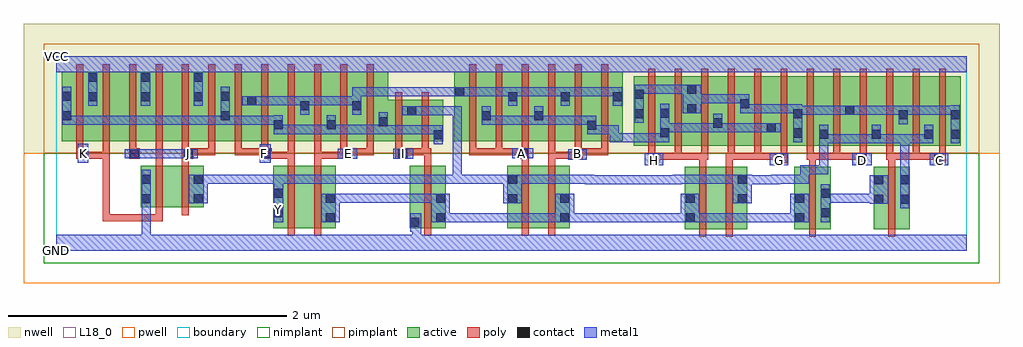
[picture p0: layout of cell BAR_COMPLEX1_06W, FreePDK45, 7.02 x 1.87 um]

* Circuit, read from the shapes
.subckt BAR_COMPLEX1_06W A B C D E F G GND H I J K VCC Y
M1 n1 K GND VSUBS nfet w=0.3u l=0.05u
M2 Y J n1 VSUBS nfet w=0.3u l=0.05u
M3 n2 F Y VSUBS nfet w=0.45u l=0.05u
M4 n3 E n2 VSUBS nfet w=0.45u l=0.05u
M5 n3 I GND VSUBS nfet w=0.45u l=0.05u
M6 n4 A Y VSUBS nfet w=0.45u l=0.05u
M7 n3 B n4 VSUBS nfet w=0.45u l=0.05u
M8 n5 H n3 VSUBS nfet w=0.45u l=0.05u
M9 Y G n5 VSUBS nfet w=0.45u l=0.05u
M10 n6 D n3 VSUBS nfet w=0.45u l=0.05u
M11 Y C n6 VSUBS nfet w=0.45u l=0.05u
M12 VCC K n7 n8 pfet w=0.5u l=0.05u
M13 n9 K VCC n8 pfet w=0.5u l=0.05u
M14 VCC J n9 n8 pfet w=0.5u l=0.05u
M15 n10 K VCC n8 pfet w=0.5u l=0.05u
M16 VCC J n10 n8 pfet w=0.5u l=0.05u
M17 n7 J VCC n8 pfet w=0.5u l=0.05u
M18 n11 F n7 n8 pfet w=0.5u l=0.05u m=3
M19 n7 E n11 n8 pfet w=0.5u l=0.05u m=3
M20 Y I n7 n8 pfet w=0.3u l=0.05u m=2
M21 n12 A n11 n8 pfet w=0.5u l=0.05u m=3
M22 n11 B n12 n8 pfet w=0.5u l=0.05u m=3
M23 n12 H n13 n8 pfet w=0.5u l=0.05u m=3
M24 n13 G n12 n8 pfet w=0.5u l=0.05u m=3
M25 Y D n13 n8 pfet w=0.5u l=0.05u m=3
M26 n13 C Y n8 pfet w=0.5u l=0.05u m=3
.ends

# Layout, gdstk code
import gdstk
lib = gdstk.Library(unit=1e-6, precision=1e-09)
def R(c, l, rs):  # rectangles x0, y0, x1, y1
    for r in rs: c.add(gdstk.rectangle(r[:2], r[2:], *l))
def A(c, l, x, y, w, h, nx, ny, dx, dy):  # array of equal rectangles
    R(c, l, [(x+i*dx, y+j*dy, x+i*dx+w, y+j*dy+h) for i in range(nx) for j in range(ny)])
active = (1, 0)
pwell = (2, 0)
nwell = (3, 0)
nimplant = (4, 0)
pimplant = (5, 0)
poly = (9, 0)
contact = (10, 0)
metal1 = (11, 0)
L18_0 = (18, 0)
boundary = (235, 0)

bar_complex1_06w = lib.new_cell('BAR_COMPLEX1_06W')
A(bar_complex1_06w, active, 4.155, 0.755, 0.075, 0.445, 4, 1, 0.38, 0)
A(bar_complex1_06w, active, 4.915, 0.755, 0.265, 0.5, 3, 1, 0.19, 0)
A(bar_complex1_06w, active, 0.225, 0.787, 0.075, 0.5, 3, 1, 0.38, 0)
A(bar_complex1_06w, active, 1.18, 0.787, 0.265, 0.5, 4, 1, 0.19, 0)
A(bar_complex1_06w, active, 2.865, 0.787, 0.265, 0.5, 5, 1, 0.19, 0)
A(bar_complex1_06w, active, 3.055, 0.787, 0.075, 0.283, 3, 1, 0.38, 0)
R(bar_complex1_06w, active, [(4.522,0.155,4.747,0.605), (4.747,0.155,4.972,0.605), (5.31,0.155,5.57,0.605), (5.88,0.155,6.14,0.605), (1.56,0.162,1.785,0.612), (1.785,0.162,2.01,0.612), (2.542,0.162,2.802,0.612), (3.245,0.162,3.47,0.612), (3.47,0.162,3.695,0.612), (2.542,0.167,2.617,0.397), (1.56,0.195,1.665,0.612), (1.935,0.195,2.01,0.612), (2.727,0.195,2.802,0.612), (3.245,0.195,3.35,0.612), (3.62,0.195,3.695,0.612), (4.522,0.195,4.627,0.605), (4.897,0.195,4.972,0.605), (5.31,0.195,5.385,0.605), (5.495,0.195,5.57,0.605), (5.88,0.195,5.955,0.605), (6.065,0.195,6.14,0.605), (0.61,0.312,0.685,0.612), (0.61,0.312,0.835,0.612), (0.835,0.312,1.06,0.612), (0.985,0.312,1.06,0.612), (4.155,0.755,4.415,1.255), (4.34,0.755,4.415,1.07), (4.34,0.755,4.61,1.255), (4.535,0.755,4.795,1.255), (4.72,0.755,4.795,1.07), (4.72,0.755,4.99,1.255), (5.105,0.755,5.18,1.07), (5.485,0.755,5.56,1.07), (5.485,0.755,5.747,1.255), (5.672,0.755,5.747,1.2), (5.672,0.755,5.935,1.255), (5.86,0.755,5.935,1.07), (5.86,0.755,6.13,1.255), (6.055,0.755,6.13,1.2), (6.055,0.755,6.315,1.255), (6.24,0.755,6.505,1.255), (6.24,0.755,6.315,1.07), (6.43,0.755,6.505,1.2), (0.04,0.787,0.3,1.287), (0.04,0.787,0.115,1.2), (0.225,0.787,0.455,1.287), (0.455,0.787,0.68,1.287), (0.605,0.787,0.835,1.287), (0.835,0.787,1.06,1.287), (0.985,0.787,1.255,1.287), (1.18,0.787,1.255,1.2), (1.37,0.787,1.445,1.2), (1.56,0.787,1.635,1.07), (1.75,0.787,1.825,1.2), (1.94,0.787,2.2,1.287), (1.94,0.787,2.015,1.07), (2.125,0.787,2.39,1.287), (2.125,0.787,2.2,1.2), (2.315,0.787,2.595,1.087), (2.52,0.787,2.785,1.087), (3.625,0.787,3.7,1.2), (3.815,0.787,4.075,1.287), (4,0.787,4.075,1.2), (2.71,0.797,2.785,0.94), (2.865,0.807,2.94,1.2), (3.245,0.807,3.32,1.2), (2.315,0.89,2.39,1.07), (2.52,0.97,2.595,1.055)])
R(bar_complex1_06w, pwell, [(-0.235,-0.235,6.785,0.7)])
R(bar_complex1_06w, nwell, [(-0.235,0.7,6.785,1.635)])
R(bar_complex1_06w, nimplant, [(-0.09,-0.09,6.64,0.7)])
R(bar_complex1_06w, pimplant, [(-0.09,0.7,6.64,1.49)])
A(bar_complex1_06w, poly, 4.26, 0.655, 0.05, 0.095, 12, 1, 0.19, 0)
A(bar_complex1_06w, poly, 1.665, 0.662, 0.05, 0.05, 3, 1, 0.19, 0)
A(bar_complex1_06w, poly, 0.145, 0.687, 0.05, 0.095, 3, 1, 0.38, 0)
A(bar_complex1_06w, poly, 1.095, 0.687, 0.05, 0.095, 3, 1, 0.19, 0)
A(bar_complex1_06w, poly, 2.97, 0.687, 0.05, 0.095, 3, 1, 0.19, 0)
A(bar_complex1_06w, poly, 4.26, 0.7, 0.05, 0.61, 12, 1, 0.19, 0)
A(bar_complex1_06w, poly, 0.145, 0.732, 0.05, 0.61, 12, 1, 0.19, 0)
A(bar_complex1_06w, poly, 2.97, 0.732, 0.05, 0.61, 6, 1, 0.19, 0)
R(bar_complex1_06w, poly, [(4.627,0.1,4.677,0.66), (4.817,0.1,4.867,0.66), (5.415,0.1,5.465,0.66), (5.985,0.1,6.035,0.66), (1.665,0.107,1.715,0.667), (1.855,0.107,1.905,0.667), (2.647,0.107,2.697,0.667), (3.35,0.107,3.4,0.667), (3.54,0.107,3.59,0.667), (0.335,0.212,0.385,0.262), (0.335,0.212,0.517,0.262), (0.335,0.212,0.385,0.7), (0.467,0.212,0.517,0.262), (0.467,0.212,0.517,0.262), (0.467,0.212,0.517,0.262), (0.467,0.212,0.517,0.262), (0.467,0.212,0.517,0.262), (0.467,0.212,0.517,0.262), (0.467,0.212,0.517,0.262), (0.467,0.212,0.765,0.262), (0.715,0.212,0.765,0.307), (0.715,0.212,0.765,0.262), (0.715,0.212,0.765,0.262), (0.715,0.212,0.765,0.262), (0.715,0.257,0.765,0.667), (0.905,0.257,0.955,0.667), (4.627,0.61,4.677,0.705), (4.817,0.61,4.867,0.705), (5.415,0.61,5.465,0.705), (5.985,0.61,6.035,0.705), (0.715,0.617,0.765,0.722), (0.905,0.617,0.955,0.712), (1.665,0.617,1.715,0.712), (1.855,0.617,1.905,0.712), (2.647,0.617,2.697,0.737), (3.35,0.617,3.4,0.712), (3.54,0.617,3.59,0.712), (4.26,0.63,4.337,0.705), (5.162,0.63,5.26,0.705), (5.755,0.63,5.83,0.705), (6.312,0.63,6.4,0.705), (0.335,0.65,0.385,0.7), (0.335,0.65,0.385,0.7), (0.335,0.65,0.385,0.712), (4.287,0.655,4.5,0.705), (4.45,0.655,4.5,0.705), (4.45,0.655,4.5,0.705), (4.45,0.655,4.5,0.705), (4.45,0.655,4.677,0.705), (4.627,0.655,4.677,0.705), (4.627,0.655,4.677,0.705), (4.627,0.655,4.69,0.705), (4.817,0.655,4.88,0.705), (4.83,0.655,5.07,0.705), (5.02,0.655,5.07,0.705), (5.02,0.655,5.07,0.705), (5.02,0.655,5.07,0.705), (5.02,0.655,5.212,0.705), (5.162,0.655,5.212,0.705), (5.162,0.655,5.212,0.705), (5.4,0.655,5.465,0.705), (5.415,0.655,5.64,0.705), (5.59,0.655,5.64,0.705), (5.59,0.655,5.64,0.705), (5.59,0.655,5.64,0.705), (5.59,0.655,5.805,0.705), (5.755,0.655,5.805,0.705), (5.755,0.655,5.805,0.705), (5.97,0.655,6.035,0.705), (5.985,0.655,6.035,0.705), (5.985,0.655,6.035,0.705), (5.985,0.655,6.21,0.705), (6.16,0.655,6.21,0.705), (6.16,0.655,6.362,0.705), (6.312,0.655,6.362,0.705), (6.312,0.655,6.362,0.705), (0.145,0.662,0.225,0.737), (0.175,0.662,0.225,0.712), (0.175,0.662,0.225,0.712), (0.175,0.662,0.385,0.712), (0.335,0.662,0.385,0.782), (0.525,0.662,0.6,0.737), (0.905,0.662,0.987,0.737), (1.475,0.662,1.55,0.737), (1.5,0.662,1.715,0.712), (1.665,0.662,1.715,0.712), (1.665,0.662,1.715,0.712), (1.665,0.662,1.715,0.782), (1.855,0.662,2.095,0.712), (1.855,0.662,1.905,0.782), (2.045,0.662,2.095,0.712), (2.045,0.662,2.13,0.737), (2.44,0.662,2.53,0.737), (3.325,0.662,3.4,0.737), (3.54,0.662,3.59,0.712), (3.54,0.662,3.59,0.712), (3.54,0.662,3.59,0.712), (3.54,0.662,3.762,0.712), (3.54,0.662,3.59,0.782), (3.712,0.662,3.787,0.737), (0.715,0.672,0.765,0.722), (0.715,0.672,0.765,0.782), (0.937,0.687,0.987,0.737), (0.937,0.687,0.987,0.737), (0.937,0.687,1.145,0.737), (1.095,0.687,1.145,0.737), (1.285,0.687,1.335,0.737), (1.285,0.687,1.335,0.737), (1.285,0.687,1.335,0.737), (1.285,0.687,1.525,0.737), (2.045,0.687,2.095,0.782), (2.08,0.687,2.285,0.737), (2.235,0.687,2.285,0.782), (2.235,0.687,2.285,0.737), (2.235,0.687,2.285,0.737), (2.235,0.687,2.285,0.737), (2.44,0.687,2.49,0.782), (2.48,0.687,2.68,0.737), (2.63,0.687,2.68,0.782), (2.63,0.687,2.68,0.737), (2.63,0.687,2.68,0.737), (2.63,0.687,2.697,0.737), (2.97,0.687,3.025,0.737), (2.975,0.687,3.025,0.737), (2.975,0.687,3.025,0.737), (2.975,0.687,3.21,0.737), (3.16,0.687,3.21,0.737), (3.16,0.687,3.21,0.737), (3.16,0.687,3.21,0.737), (3.16,0.687,3.375,0.737), (3.73,0.687,3.78,0.782), (3.737,0.687,3.97,0.737), (3.92,0.687,3.97,0.782), (3.92,0.687,3.97,0.737), (3.92,0.687,3.97,0.737), (3.92,0.687,3.97,0.737), (2.44,0.732,2.49,1.142), (2.63,0.732,2.68,1.142)])
A(bar_complex1_06w, contact, 0.23, 1.077, 0.065, 0.065, 3, 2, 0.38, 0.14)
R(bar_complex1_06w, contact, [(2.547,0.172,2.612,0.237), (1.94,0.205,2.005,0.27), (2.732,0.205,2.797,0.27), (3.625,0.205,3.69,0.27), (4.527,0.205,4.592,0.27), (5.315,0.205,5.38,0.27), (1.565,0.24,1.63,0.305), (5.5,0.24,5.565,0.305), (5.885,0.34,5.95,0.405), (6.07,0.34,6.135,0.405), (0.615,0.342,0.68,0.407), (0.99,0.342,1.055,0.407), (3.25,0.342,3.315,0.407), (4.902,0.342,4.967,0.407), (1.94,0.345,2.005,0.41), (2.732,0.345,2.797,0.41), (3.625,0.345,3.69,0.41), (4.527,0.345,4.592,0.41), (5.315,0.345,5.38,0.41), (1.565,0.38,1.63,0.445), (5.5,0.38,5.565,0.445), (5.885,0.48,5.95,0.545), (6.07,0.48,6.135,0.545), (0.615,0.482,0.68,0.547), (0.99,0.482,1.055,0.547), (3.25,0.482,3.315,0.547), (4.902,0.482,4.967,0.547), (4.267,0.635,4.332,0.7), (5.167,0.635,5.232,0.7), (5.76,0.635,5.825,0.7), (6.317,0.635,6.382,0.7), (0.155,0.667,0.22,0.732), (0.53,0.667,0.595,0.732), (0.917,0.667,0.982,0.732), (1.48,0.667,1.545,0.732), (2.06,0.667,2.125,0.732), (2.46,0.667,2.525,0.732), (3.33,0.667,3.395,0.732), (3.717,0.667,3.782,0.732), (2.715,0.802,2.78,0.867), (5.49,0.807,5.555,0.872), (5.865,0.807,5.93,0.872), (6.245,0.807,6.31,0.872), (6.435,0.807,6.5,0.872), (5.3,0.815,5.365,0.88), (4.345,0.817,4.41,0.882), (5.11,0.852,5.175,0.917), (3.82,0.872,3.885,0.937), (1.565,0.875,1.63,0.94), (1.945,0.875,2.01,0.94), (4.725,0.887,4.79,0.952), (2.32,0.895,2.385,0.96), (0.045,0.94,0.11,1.005), (1.185,0.94,1.25,1.005), (3.06,0.94,3.125,1.005), (3.44,0.94,3.505,1.005), (6.06,0.945,6.125,1.01), (6.435,0.947,6.5,1.012), (4.16,0.955,4.225,1.02), (5.3,0.955,5.365,1.02), (4.345,0.957,4.41,1.022), (2.525,0.975,2.59,1.04), (5.677,0.977,5.742,1.042), (4.54,0.99,4.605,1.055), (1.755,1.012,1.82,1.077), (2.13,1.012,2.195,1.077), (4.92,1.025,4.985,1.09), (1.375,1.047,1.44,1.112), (3.25,1.077,3.315,1.142), (3.63,1.077,3.695,1.142), (4.005,1.077,4.07,1.142), (0.045,1.08,0.11,1.145), (1.185,1.08,1.25,1.145), (4.16,1.095,4.225,1.16), (2.87,1.112,2.935,1.177), (4.54,1.13,4.605,1.195)])
A(bar_complex1_06w, metal1, 1.767, 0.482, 0.203, 0.065, 3, 1, 0.655, 0)
A(bar_complex1_06w, metal1, 0.23, 1.042, 0.065, 0.275, 3, 1, 0.38, 0)
A(bar_complex1_06w, metal1, 0.23, 1.252, 0.065, 0.098, 3, 1, 0.38, 0)
R(bar_complex1_06w, metal1, [(0,0,6.55,0.115), (0.615,0.05,0.68,0.115), (0.615,0.05,0.68,0.115), (0.615,0.05,0.68,0.115), (0.615,0.05,0.68,0.115), (0.615,0.05,0.68,0.372), (2.56,0.05,2.625,0.115), (2.56,0.05,2.625,0.115), (2.56,0.05,2.625,0.202), (2.547,0.137,2.625,0.272), (1.565,0.205,1.632,0.48), (1.905,0.205,2.04,0.41), (2.697,0.205,2.832,0.41), (2.767,0.205,2.97,0.27), (2.905,0.205,2.97,0.27), (2.905,0.205,2.97,0.27), (2.905,0.205,2.97,0.27), (2.905,0.205,3.142,0.27), (3.077,0.205,3.142,0.27), (3.077,0.205,3.142,0.27), (3.077,0.205,3.142,0.27), (3.077,0.205,3.28,0.27), (3.215,0.205,3.28,0.27), (3.215,0.205,3.28,0.27), (3.215,0.205,3.28,0.27), (3.215,0.205,3.517,0.27), (3.452,0.205,3.517,0.27), (3.452,0.205,3.517,0.27), (3.452,0.205,3.517,0.27), (3.452,0.205,3.655,0.27), (3.59,0.205,3.725,0.41), (3.66,0.205,3.725,0.27), (3.66,0.205,3.725,0.27), (3.66,0.205,3.87,0.27), (3.805,0.205,3.87,0.27), (3.805,0.205,3.87,0.27), (3.805,0.205,3.87,0.27), (3.805,0.205,4.045,0.27), (3.98,0.205,4.045,0.27), (3.98,0.205,4.045,0.27), (3.98,0.205,4.045,0.27), (3.98,0.205,4.362,0.27), (4.297,0.205,4.362,0.27), (4.297,0.205,4.42,0.27), (4.355,0.205,4.42,0.27), (4.355,0.205,4.502,0.27), (4.437,0.205,4.502,0.27), (4.437,0.205,4.557,0.27), (4.492,0.205,4.627,0.41), (4.562,0.205,4.64,0.27), (4.575,0.205,4.64,0.27), (4.575,0.205,4.795,0.27), (4.73,0.205,4.795,0.27), (4.73,0.205,4.795,0.27), (4.73,0.205,4.795,0.27), (4.73,0.205,4.932,0.27), (4.867,0.205,4.932,0.27), (4.867,0.205,4.932,0.27), (4.867,0.205,4.932,0.27), (4.867,0.205,5.207,0.27), (5.142,0.205,5.207,0.27), (5.142,0.205,5.207,0.27), (5.142,0.205,5.207,0.27), (5.142,0.205,5.345,0.27), (5.28,0.205,5.415,0.41), (5.5,0.205,5.565,0.48), (6.07,0.305,6.135,0.58), (0.615,0.307,0.68,0.582), (5.85,0.34,5.985,0.545), (0.955,0.342,1.09,0.547), (3.215,0.342,3.35,0.547), (4.867,0.342,5.002,0.547), (1.975,0.345,2.04,0.41), (1.975,0.345,2.04,0.41), (1.975,0.345,2.212,0.41), (2.147,0.345,2.212,0.41), (2.147,0.345,2.35,0.41), (2.285,0.345,2.35,0.41), (2.285,0.345,2.35,0.41), (2.285,0.345,2.35,0.41), (2.285,0.345,2.487,0.41), (2.422,0.345,2.487,0.41), (2.422,0.345,2.625,0.41), (2.56,0.345,2.625,0.41), (2.56,0.345,2.762,0.41), (2.697,0.345,2.762,0.41), (2.697,0.345,2.762,0.41), (5.5,0.345,5.565,0.41), (5.5,0.345,5.565,0.41), (5.5,0.345,5.702,0.41), (5.637,0.345,5.702,0.41), (5.637,0.345,5.702,0.41), (5.637,0.345,5.702,0.41), (5.637,0.345,5.915,0.41), (1.567,0.415,1.632,0.48), (1.567,0.415,1.632,0.48), (1.567,0.415,1.632,0.48), (1.567,0.415,1.632,0.48), (1.567,0.415,1.632,0.547), (3.805,0.48,3.87,0.547), (3.805,0.48,4.045,0.545), (3.98,0.48,4.045,0.545), (3.98,0.48,4.045,0.545), (3.98,0.48,4.045,0.545), (3.98,0.48,4.362,0.545), (4.297,0.48,4.362,0.545), (4.297,0.48,4.362,0.545), (4.297,0.48,4.362,0.545), (4.297,0.48,4.5,0.545), (4.435,0.48,4.5,0.547), (4.937,0.48,5.002,0.545), (4.937,0.48,5.002,0.545), (4.937,0.48,5.207,0.545), (5.142,0.48,5.207,0.545), (5.142,0.48,5.207,0.545), (5.142,0.48,5.207,0.547), (1.025,0.482,1.09,0.547), (1.025,0.482,1.09,0.547), (1.025,0.482,1.267,0.547), (1.202,0.482,1.267,0.547), (1.202,0.482,1.267,0.547), (1.202,0.482,1.267,0.547), (1.202,0.482,1.485,0.547), (1.42,0.482,1.485,0.547), (1.42,0.482,1.485,0.547), (1.42,0.482,1.485,0.547), (1.42,0.482,1.632,0.547), (1.567,0.482,1.632,0.547), (1.567,0.482,1.632,0.547), (1.567,0.482,1.632,0.547), (1.567,0.482,1.832,0.547), (1.767,0.482,1.832,0.547), (1.767,0.482,1.832,0.547), (1.767,0.482,1.832,0.547), (1.905,0.482,1.97,0.547), (1.905,0.482,2.195,0.547), (2.13,0.482,2.195,0.547), (2.13,0.482,2.195,0.547), (2.13,0.482,2.195,0.547), (2.13,0.482,2.35,0.547), (2.285,0.482,2.35,0.547), (2.285,0.482,2.35,0.547), (2.285,0.482,2.35,0.547), (2.285,0.482,2.487,0.547), (2.422,0.482,2.487,0.547), (2.56,0.482,2.625,0.547), (2.56,0.482,2.625,0.547), (2.56,0.482,2.625,0.547), (2.56,0.482,2.762,0.547), (2.697,0.482,2.762,0.547), (2.697,0.482,2.917,0.547), (2.852,0.482,2.917,0.547), (2.852,0.482,2.97,0.547), (2.852,0.482,2.917,1.04), (2.905,0.482,2.97,0.547), (2.905,0.482,3.142,0.547), (3.077,0.482,3.142,0.547), (3.077,0.482,3.142,0.547), (3.077,0.482,3.142,0.547), (3.285,0.482,3.35,0.547), (3.285,0.482,3.35,0.547), (3.285,0.482,3.517,0.547), (3.452,0.482,3.517,0.547), (3.452,0.482,3.517,0.547), (3.452,0.482,3.517,0.547), (3.452,0.482,3.732,0.547), (3.667,0.482,3.732,0.547), (3.667,0.482,3.732,0.547), (3.667,0.482,3.732,0.547), (3.667,0.482,3.87,0.547), (3.805,0.482,3.87,0.547), (3.805,0.482,3.87,0.547), (4.435,0.482,4.64,0.547), (4.575,0.482,4.64,0.547), (4.575,0.482,4.64,0.547), (4.575,0.482,4.64,0.547), (4.575,0.482,4.795,0.547), (4.73,0.482,4.795,0.547), (4.73,0.482,4.795,0.547), (4.73,0.482,4.795,0.547), (4.73,0.482,4.932,0.547), (5.142,0.482,5.417,0.547), (5.352,0.482,5.417,0.547), (5.352,0.482,5.417,0.617), (6.07,0.515,6.135,0.837), (5.352,0.552,5.417,0.617), (5.352,0.552,5.417,0.617), (5.352,0.552,5.417,0.617), (5.352,0.552,5.555,0.617), (5.49,0.552,5.555,0.617), (5.49,0.552,5.555,0.837), (4.232,0.617,4.367,0.7), (5.132,0.617,5.267,0.7), (5.725,0.617,5.867,0.7), (6.282,0.617,6.417,0.7), (0.155,0.632,0.232,0.77), (1.465,0.632,1.545,0.767), (3.682,0.655,3.817,0.732), (2.025,0.662,2.167,0.735), (2.425,0.662,2.567,0.735), (0.495,0.667,0.63,0.732), (0.565,0.667,0.63,0.732), (0.565,0.667,0.63,0.732), (0.565,0.667,0.767,0.732), (0.702,0.667,0.767,0.732), (0.702,0.667,0.767,0.732), (0.702,0.667,0.767,0.732), (0.702,0.667,0.947,0.732), (0.882,0.667,1.017,0.732), (3.282,0.667,3.43,0.737), (2.715,0.767,2.78,0.902), (5.49,0.772,5.555,0.837), (5.49,0.772,5.555,0.837), (5.49,0.772,5.555,0.907), (5.49,0.772,5.777,0.837), (5.712,0.772,5.777,0.837), (5.712,0.772,5.93,0.837), (5.865,0.772,5.93,0.837), (5.865,0.772,5.93,0.837), (5.865,0.772,5.93,0.907), (5.865,0.772,6.072,0.837), (6.007,0.772,6.072,0.837), (6.007,0.772,6.135,0.837), (6.07,0.772,6.135,0.837), (6.07,0.772,6.135,0.837), (6.07,0.772,6.135,0.837), (6.07,0.772,6.21,0.837), (6.145,0.772,6.21,0.837), (6.145,0.772,6.31,0.837), (6.245,0.772,6.31,0.907), (6.435,0.772,6.5,1.047), (5.3,0.78,5.365,1.055), (3.98,0.782,4.045,0.847), (3.98,0.782,4.045,0.847), (3.98,0.782,4.225,0.847), (3.98,0.782,4.045,0.902), (4.16,0.782,4.225,0.847), (4.16,0.782,4.41,0.847), (4.345,0.782,4.41,1.057), (2.32,0.837,2.487,0.902), (2.32,0.837,2.385,0.995), (2.422,0.837,2.487,0.902), (2.422,0.837,2.625,0.902), (2.56,0.837,2.625,0.902), (2.56,0.837,2.625,0.902), (2.56,0.837,2.625,0.902), (2.56,0.837,2.78,0.902), (3.82,0.837,3.885,0.902), (3.82,0.837,3.885,0.902), (3.82,0.837,3.885,0.972), (3.82,0.837,4.045,0.902), (1.565,0.84,1.63,0.975), (1.565,0.84,1.685,0.905), (1.62,0.84,1.685,0.905), (1.62,0.84,1.832,0.905), (1.767,0.84,1.832,0.905), (1.767,0.84,1.832,0.905), (1.767,0.84,1.832,0.905), (1.767,0.84,2.01,0.905), (1.945,0.84,2.01,0.975), (1.945,0.84,2.195,0.905), (2.13,0.84,2.195,0.905), (2.13,0.84,2.195,0.905), (2.13,0.84,2.195,0.905), (2.13,0.84,2.345,0.905), (2.28,0.84,2.345,0.905), (2.28,0.84,2.385,0.905), (4.345,0.852,4.5,0.917), (4.435,0.852,4.5,0.917), (4.435,0.852,4.652,0.917), (4.587,0.852,4.652,0.917), (4.587,0.852,4.652,0.917), (4.587,0.852,4.652,0.917), (4.587,0.852,4.79,0.917), (4.725,0.852,4.79,0.917), (4.725,0.852,4.79,0.917), (4.725,0.852,4.79,0.987), (4.725,0.852,4.932,0.917), (4.867,0.852,4.932,0.917), (4.867,0.852,4.932,0.917), (4.867,0.852,4.932,0.917), (4.867,0.852,5.14,0.917), (5.075,0.852,5.21,0.917), (0.045,0.905,0.11,0.97), (0.045,0.905,0.11,0.97), (0.045,0.905,0.11,1.18), (0.045,0.905,0.247,0.97), (0.182,0.905,0.247,0.97), (0.182,0.905,0.247,0.97), (0.182,0.905,0.247,0.97), (0.182,0.905,0.385,0.97), (0.32,0.905,0.385,0.97), (0.32,0.905,0.385,0.97), (0.32,0.905,0.385,0.97), (0.32,0.905,0.63,0.97), (0.565,0.905,0.63,0.97), (0.565,0.905,0.767,0.97), (0.702,0.905,0.767,0.97), (0.702,0.905,0.767,0.97), (0.702,0.905,0.767,0.97), (0.702,0.905,0.905,0.97), (0.84,0.905,0.905,0.97), (0.84,0.905,1.075,0.97), (1.01,0.905,1.075,0.97), (1.01,0.905,1.075,0.97), (1.01,0.905,1.075,0.97), (1.01,0.905,1.25,0.97), (1.185,0.905,1.25,0.97), (1.185,0.905,1.25,0.97), (1.185,0.905,1.25,1.18), (1.185,0.905,1.492,0.97), (1.427,0.905,1.492,0.97), (1.427,0.905,1.492,0.97), (1.427,0.905,1.492,0.97), (1.427,0.905,1.63,0.97), (3.06,0.905,3.125,0.97), (3.06,0.905,3.125,0.97), (3.06,0.905,3.125,1.04), (3.06,0.905,3.367,0.97), (3.302,0.905,3.367,0.97), (3.302,0.905,3.367,0.97), (3.302,0.905,3.367,0.97), (3.302,0.905,3.505,0.97), (3.44,0.905,3.505,0.97), (3.44,0.905,3.505,0.97), (3.44,0.905,3.505,1.04), (3.44,0.905,3.732,0.97), (3.667,0.905,3.732,0.97), (3.667,0.905,3.732,0.97), (3.667,0.905,3.732,0.97), (3.667,0.905,3.885,0.97), (6.06,0.91,6.125,1.045), (4.16,0.92,4.225,1.195), (2.49,0.975,2.625,1.04), (2.56,0.975,2.625,1.04), (2.56,0.975,2.625,1.04), (2.56,0.975,2.762,1.04), (2.697,0.975,2.762,1.04), (2.697,0.975,2.917,1.04), (2.852,0.975,2.917,1.04), (2.852,0.975,2.917,1.04), (2.852,0.975,2.917,1.04), (2.852,0.975,2.917,1.04), (2.852,0.975,2.917,1.04), (1.755,0.977,1.822,1.112), (2.13,0.977,2.195,1.112), (5.642,0.977,5.777,1.045), (5.3,0.98,5.405,1.045), (5.34,0.98,5.405,1.045), (5.34,0.98,5.565,1.045), (5.5,0.98,5.565,1.045), (5.5,0.98,5.565,1.045), (5.5,0.98,5.565,1.045), (5.5,0.98,5.707,1.045), (5.712,0.98,5.777,1.045), (5.712,0.98,5.777,1.045), (5.712,0.98,5.987,1.045), (5.922,0.98,5.987,1.045), (5.922,0.98,6.072,1.045), (6.007,0.98,6.072,1.045), (6.007,0.98,6.125,1.045), (6.06,0.98,6.21,1.045), (6.145,0.98,6.21,1.045), (6.145,0.98,6.362,1.045), (6.297,0.98,6.362,1.045), (6.297,0.98,6.5,1.045), (6.435,0.98,6.5,1.045), (6.435,0.98,6.5,1.045), (4.505,0.99,4.64,1.195), (4.92,0.99,4.985,1.055), (4.92,0.99,4.985,1.055), (4.92,0.99,4.985,1.125), (4.92,0.99,5.207,1.055), (5.142,0.99,5.207,1.055), (5.142,0.99,5.207,1.055), (5.142,0.99,5.207,1.055), (5.142,0.99,5.365,1.055), (3.25,1.042,3.315,1.177), (3.63,1.042,3.695,1.177), (4.005,1.042,4.07,1.177), (1.34,1.047,1.475,1.112), (1.41,1.047,1.475,1.112), (1.41,1.047,1.475,1.112), (1.41,1.047,1.655,1.112), (1.59,1.047,1.655,1.112), (1.59,1.047,1.655,1.112), (1.59,1.047,1.655,1.112), (1.59,1.047,1.82,1.112), (1.757,1.047,1.822,1.112), (1.757,1.047,1.822,1.112), (1.757,1.047,1.987,1.112), (1.922,1.047,1.987,1.112), (1.922,1.047,2.195,1.112), (2.13,1.047,2.195,1.112), (2.13,1.047,2.195,1.112), (2.13,1.047,2.195,1.177), (4.575,1.06,4.64,1.125), (4.575,1.06,4.64,1.125), (4.575,1.06,4.795,1.125), (4.73,1.06,4.795,1.125), (4.73,1.06,4.795,1.125), (4.73,1.06,4.795,1.125), (4.73,1.06,4.985,1.125), (2.13,1.112,2.195,1.177), (2.13,1.112,2.35,1.177), (2.285,1.112,2.35,1.177), (2.285,1.112,2.35,1.177), (2.285,1.112,2.35,1.177), (2.285,1.112,2.487,1.177), (2.422,1.112,2.487,1.177), (2.422,1.112,2.522,1.177), (2.457,1.112,2.522,1.177), (2.457,1.112,2.762,1.177), (2.697,1.112,2.762,1.177), (2.697,1.112,2.762,1.177), (2.697,1.112,2.762,1.177), (2.697,1.112,2.9,1.177), (2.835,1.112,2.97,1.177), (2.905,1.112,2.97,1.177), (2.905,1.112,2.97,1.177), (2.905,1.112,3.142,1.177), (3.077,1.112,3.142,1.177), (3.077,1.112,3.142,1.177), (3.077,1.112,3.142,1.177), (3.077,1.112,3.315,1.177), (3.25,1.112,3.315,1.177), (3.25,1.112,3.315,1.177), (3.25,1.112,3.517,1.177), (3.452,1.112,3.517,1.177), (3.452,1.112,3.517,1.177), (3.452,1.112,3.517,1.177), (3.452,1.112,3.695,1.177), (3.63,1.112,3.695,1.177), (3.63,1.112,3.695,1.177), (3.63,1.112,3.907,1.177), (3.842,1.112,3.907,1.177), (3.842,1.112,3.907,1.177), (3.842,1.112,3.907,1.177), (3.842,1.112,4.07,1.177), (4.16,1.13,4.225,1.195), (4.16,1.13,4.225,1.195), (4.16,1.13,4.362,1.195), (4.297,1.13,4.362,1.195), (4.297,1.13,4.5,1.195), (4.435,1.13,4.5,1.195), (4.435,1.13,4.57,1.195), (0,1.285,6.55,1.4)])
A(bar_complex1_06w, L18_0, 1.767, 0.482, 0.203, 0.065, 3, 1, 0.655, 0)
A(bar_complex1_06w, L18_0, 0.23, 1.042, 0.065, 0.275, 3, 1, 0.38, 0)
A(bar_complex1_06w, L18_0, 0.23, 1.252, 0.065, 0.098, 3, 1, 0.38, 0)
R(bar_complex1_06w, L18_0, [(0,0,6.55,0.115), (0.615,0.05,0.68,0.115), (0.615,0.05,0.68,0.115), (0.615,0.05,0.68,0.115), (0.615,0.05,0.68,0.115), (0.615,0.05,0.68,0.372), (2.56,0.05,2.625,0.115), (2.56,0.05,2.625,0.115), (2.56,0.05,2.625,0.202), (2.547,0.137,2.625,0.272), (1.565,0.205,1.632,0.48), (1.567,0.267,1.632,0.332), (6.07,0.305,6.135,0.58), (0.615,0.307,0.68,0.582), (0.955,0.342,1.09,0.547), (3.215,0.342,3.35,0.547), (4.867,0.342,5.002,0.547), (1.567,0.415,1.632,0.48), (1.567,0.415,1.632,0.48), (1.567,0.415,1.632,0.48), (1.567,0.415,1.632,0.48), (1.567,0.415,1.632,0.547), (3.805,0.48,3.87,0.547), (3.805,0.48,4.045,0.545), (3.98,0.48,4.045,0.545), (3.98,0.48,4.045,0.545), (3.98,0.48,4.045,0.545), (3.98,0.48,4.362,0.545), (4.297,0.48,4.362,0.545), (4.297,0.48,4.362,0.545), (4.297,0.48,4.362,0.545), (4.297,0.48,4.5,0.545), (4.435,0.48,4.5,0.547), (4.937,0.48,5.002,0.545), (4.937,0.48,5.002,0.545), (4.937,0.48,5.207,0.545), (5.142,0.48,5.207,0.545), (5.142,0.48,5.207,0.545), (5.142,0.48,5.207,0.547), (1.025,0.482,1.09,0.547), (1.025,0.482,1.09,0.547), (1.025,0.482,1.267,0.547), (1.202,0.482,1.267,0.547), (1.202,0.482,1.267,0.547), (1.202,0.482,1.267,0.547), (1.202,0.482,1.485,0.547), (1.42,0.482,1.485,0.547), (1.42,0.482,1.485,0.547), (1.42,0.482,1.485,0.547), (1.42,0.482,1.632,0.547), (1.567,0.482,1.632,0.547), (1.567,0.482,1.632,0.547), (1.567,0.482,1.632,0.547), (1.567,0.482,1.832,0.547), (1.767,0.482,1.832,0.547), (1.767,0.482,1.832,0.547), (1.767,0.482,1.832,0.547), (1.905,0.482,1.97,0.547), (1.905,0.482,2.195,0.547), (2.13,0.482,2.195,0.547), (2.13,0.482,2.195,0.547), (2.13,0.482,2.195,0.547), (2.13,0.482,2.35,0.547), (2.285,0.482,2.35,0.547), (2.285,0.482,2.35,0.547), (2.285,0.482,2.35,0.547), (2.285,0.482,2.487,0.547), (2.422,0.482,2.487,0.547), (2.56,0.482,2.625,0.547), (2.56,0.482,2.625,0.547), (2.56,0.482,2.625,0.547), (2.56,0.482,2.762,0.547), (2.697,0.482,2.762,0.547), (2.697,0.482,2.917,0.547), (2.852,0.482,2.917,0.547), (2.852,0.482,2.917,1.04), (2.852,0.482,2.97,0.547), (2.905,0.482,2.97,0.547), (2.905,0.482,3.142,0.547), (3.077,0.482,3.142,0.547), (3.077,0.482,3.142,0.547), (3.077,0.482,3.142,0.547), (3.285,0.482,3.35,0.547), (3.285,0.482,3.35,0.547), (3.285,0.482,3.517,0.547), (3.452,0.482,3.517,0.547), (3.452,0.482,3.517,0.547), (3.452,0.482,3.517,0.547), (3.452,0.482,3.732,0.547), (3.667,0.482,3.732,0.547), (3.667,0.482,3.732,0.547), (3.667,0.482,3.732,0.547), (3.667,0.482,3.87,0.547), (3.805,0.482,3.87,0.547), (3.805,0.482,3.87,0.547), (4.435,0.482,4.64,0.547), (4.575,0.482,4.64,0.547), (4.575,0.482,4.64,0.547), (4.575,0.482,4.64,0.547), (4.575,0.482,4.795,0.547), (4.73,0.482,4.795,0.547), (4.73,0.482,4.795,0.547), (4.73,0.482,4.795,0.547), (4.73,0.482,4.932,0.547), (5.142,0.482,5.417,0.547), (5.352,0.482,5.417,0.547), (5.352,0.482,5.417,0.617), (6.07,0.515,6.135,0.837), (5.352,0.552,5.417,0.617), (5.352,0.552,5.417,0.617), (5.352,0.552,5.417,0.617), (5.352,0.552,5.555,0.617), (5.49,0.552,5.555,0.617), (5.49,0.552,5.555,0.837), (4.232,0.617,4.367,0.7), (4.267,0.617,4.332,0.682), (5.132,0.617,5.267,0.7), (5.167,0.617,5.232,0.682), (5.725,0.617,5.867,0.7), (5.767,0.617,5.832,0.682), (6.282,0.617,6.417,0.7), (6.317,0.617,6.382,0.682), (0.155,0.632,0.232,0.77), (1.465,0.632,1.545,0.767), (3.682,0.655,3.817,0.732), (2.025,0.662,2.167,0.735), (2.425,0.662,2.567,0.735), (0.167,0.667,0.232,0.732), (0.495,0.667,0.63,0.732), (0.565,0.667,0.63,0.732), (0.565,0.667,0.63,0.732), (0.565,0.667,0.767,0.732), (0.702,0.667,0.767,0.732), (0.702,0.667,0.767,0.732), (0.702,0.667,0.767,0.732), (0.702,0.667,0.947,0.732), (0.882,0.667,1.017,0.732), (0.917,0.667,0.982,0.732), (1.467,0.667,1.532,0.732), (2.067,0.667,2.132,0.732), (2.467,0.667,2.532,0.732), (3.282,0.667,3.43,0.737), (3.317,0.667,3.382,0.732), (3.717,0.667,3.782,0.732), (5.49,0.772,5.555,0.837), (5.49,0.772,5.555,0.837), (5.49,0.772,5.555,0.907), (5.49,0.772,5.777,0.837), (5.712,0.772,5.777,0.837), (5.712,0.772,5.93,0.837), (5.865,0.772,5.93,0.837), (5.865,0.772,5.93,0.837), (5.865,0.772,5.93,0.907), (5.865,0.772,6.072,0.837), (6.007,0.772,6.072,0.837), (6.007,0.772,6.135,0.837), (6.07,0.772,6.135,0.837), (6.07,0.772,6.135,0.837), (6.07,0.772,6.135,0.837), (6.07,0.772,6.21,0.837), (6.145,0.772,6.21,0.837), (6.145,0.772,6.31,0.837), (6.245,0.772,6.31,0.907), (2.49,0.975,2.625,1.04), (2.56,0.975,2.625,1.04), (2.56,0.975,2.625,1.04), (2.56,0.975,2.762,1.04), (2.697,0.975,2.762,1.04), (2.697,0.975,2.917,1.04), (2.852,0.975,2.917,1.04), (2.852,0.975,2.917,1.04), (2.852,0.975,2.917,1.04), (2.852,0.975,2.917,1.04), (2.852,0.975,2.917,1.04), (0,1.285,6.55,1.4)])
R(bar_complex1_06w, boundary, [(0,0,6.55,1.4)])
bar_complex1_06w.add(gdstk.Label('A', (3.35,0.7), layer=11, texttype=0))
bar_complex1_06w.add(gdstk.Label('B', (3.75,0.7), layer=11, texttype=0))
bar_complex1_06w.add(gdstk.Label('C', (6.35,0.65), layer=11, texttype=0))
bar_complex1_06w.add(gdstk.Label('D', (5.8,0.65), layer=11, texttype=0))
bar_complex1_06w.add(gdstk.Label('E', (2.1,0.7), layer=11, texttype=0))
bar_complex1_06w.add(gdstk.Label('F', (1.5,0.7), layer=11, texttype=0))
bar_complex1_06w.add(gdstk.Label('G', (5.2,0.65), layer=11, texttype=0))
bar_complex1_06w.add(gdstk.Label('H', (4.3,0.65), layer=11, texttype=0))
bar_complex1_06w.add(gdstk.Label('I', (2.5,0.7), layer=11, texttype=0))
bar_complex1_06w.add(gdstk.Label('J', (0.95,0.7), layer=11, texttype=0))
bar_complex1_06w.add(gdstk.Label('K', (0.2,0.7), layer=11, texttype=0))
bar_complex1_06w.add(gdstk.Label('Y', (1.6,0.3), layer=11, texttype=0))
bar_complex1_06w.add(gdstk.Label('VCC', (0,1.4), layer=11, texttype=0))
bar_complex1_06w.add(gdstk.Label('GND', (0,0), layer=11, texttype=0))

lib.write_gds('BAR_COMPLEX1_06W.gds')
